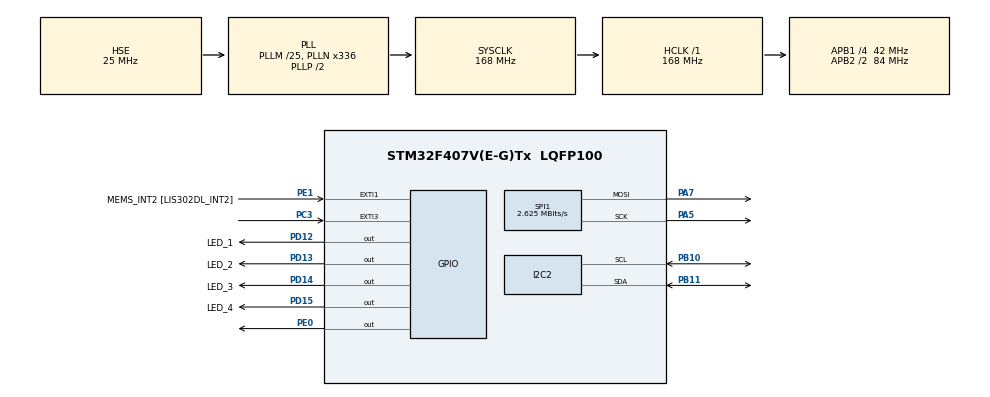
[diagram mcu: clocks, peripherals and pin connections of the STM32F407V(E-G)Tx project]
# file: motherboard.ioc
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FREERTOS.Tasks01=app_powerMonito,0,128,tsk_powerMonitor,As weak,NULL,Dynamic,NULL,NULL
FREERTOS.configLIBRARY_MAX_SYSCALL_INTERRUPT_PRIORITY=5
Mcu.Family=STM32F4
Mcu.Name=STM32F407V(E-G)Tx
Mcu.Package=LQFP100
NVIC.EXTI3_IRQn=true\:5\:0\:false\:false\:true\:true\:true\:true
NVIC.I2C2_EV_IRQn=true\:5\:0\:false\:false\:true\:true\:true\:true
NVIC.PriorityGroup=NVIC_PRIORITYGROUP_4
NVIC.SPI1_IRQn=true\:5\:0\:false\:false\:true\:true\:true\:true
PA13.GPIO_Label=SWDIO
PA13.Mode=Trace_Asynchronous_SW
PA13.Signal=SYS_JTMS-SWDIO
PA14.GPIO_Label=SWCLK
PA14.Mode=Trace_Asynchronous_SW
PA14.Signal=SYS_JTCK-SWCLK
PA5.Mode=TX_Only_Simplex_Unidirect_Master
PA5.Signal=SPI1_SCK
PA7.Mode=TX_Only_Simplex_Unidirect_Master
PA7.Signal=SPI1_MOSI
PB10.Mode=I2C
PB10.Signal=I2C2_SCL
PB11.Mode=I2C
PB11.Signal=I2C2_SDA
PB3.GPIO_Label=SWO
PB3.Mode=Trace_Asynchronous_SW
PB3.Signal=SYS_JTDO-SWO
PB8.Signal=CAN1_RX
PB9.Signal=CAN1_TX
PC14-OSC32_IN.GPIO_Label=PC14-OSC32_IN
PC14-OSC32_IN.Mode=LSE-External-Oscillator
PC14-OSC32_IN.Signal=RCC_OSC32_IN
PC15-OSC32_OUT.GPIO_Label=PC15-OSC32_OUT
PC15-OSC32_OUT.Mode=LSE-External-Oscillator
PC15-OSC32_OUT.Signal=RCC_OSC32_OUT
PC3.GPIO_ModeDefaultEXTI=GPIO_MODE_IT_FALLING
PC3.GPIO_PuPd=GPIO_PULLUP
PC3.Signal=GPXTI3
PD12.GPIO_Label=LED_1
PD12.Signal=GPIO_Output
PD13.GPIO_Label=LED_2
PD13.Signal=GPIO_Output
PD14.GPIO_Label=LED_3
PD14.Signal=GPIO_Output
PD15.GPIO_Label=LED_4
PD15.GPIO_PuPd=GPIO_NOPULL
PD15.GPIO_Speed=GPIO_SPEED_FREQ_LOW
PD15.Signal=GPIO_Output
PE0.Signal=GPIO_Output
PE1.GPIO_Label=MEMS_INT2 [LIS302DL_INT2]
PE1.GPIO_ModeDefaultEXTI=GPIO_MODE_EVT_RISING
PE1.GPIO_PuPd=GPIO_NOPULL
PE1.Signal=GPXTI1
PH0-OSC_IN.GPIO_Label=PH0-OSC_IN
PH0-OSC_IN.Mode=HSE-External-Clock-Source
PH0-OSC_IN.Signal=RCC_OSC_IN
PH1-OSC_OUT.Mode=HSE-External-Clock-Source
PH1-OSC_OUT.Signal=RCC_OSC_OUT
ProjectManager.HeapSize=0x200
ProjectManager.StackSize=0x400
ProjectManager.TargetToolchain=Makefile
RCC.48MHZClocksFreq_Value=48000000
RCC.AHBFreq_Value=168000000
RCC.APB1CLKDivider=RCC_HCLK_DIV4
RCC.APB1Freq_Value=42000000
RCC.APB1TimFreq_Value=84000000
RCC.APB2CLKDivider=RCC_HCLK_DIV2
RCC.APB2Freq_Value=84000000
RCC.APB2TimFreq_Value=168000000
RCC.CortexFreq_Value=168000000
RCC.HCLKFreq_Value=168000000
RCC.HSE_VALUE=25000000
RCC.HSI_VALUE=16000000
RCC.PLLM=25
RCC.PLLN=336
RCC.PLLQ=7
RCC.PLLSourceVirtual=RCC_PLLSOURCE_HSE
RCC.SYSCLKFreq_VALUE=168000000
RCC.SYSCLKSource=RCC_SYSCLKSOURCE_PLLCLK
RCC.VCOOutputFreq_Value=336000000
SPI1.BaudRatePrescaler=SPI_BAUDRATEPRESCALER_32
SPI1.CLKPolarity=SPI_POLARITY_LOW
SPI1.CalculateBaudRate=2.625 MBits/s
SPI1.Direction=SPI_DIRECTION_2LINES
SPI1.Mode=SPI_MODE_MASTER
SPI1.VirtualType=VM_MASTER
VP_FREERTOS_VS_CMSIS_V1.Mode=CMSIS_V1
board=STM32F4DISCOVERY

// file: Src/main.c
/* USER CODE BEGIN Header */
/**
  ******************************************************************************
  * @file           : main.c
  * @brief          : Main program body
  ******************************************************************************
  * @attention
  *
  * <h2><center>&copy; Copyright (c) 2019 STMicroelectronics.
  * All rights reserved.</center></h2>
  *
  * This software component is licensed by ST under Ultimate Liberty license
  * SLA0044, the "License"; You may not use this file except in compliance with
  * the License. You may obtain a copy of the License at:
  *                             www.st.com/SLA0044
  *
  ******************************************************************************
  */
/* USER CODE END Header */

#include "main.h"
#include "cmsis_os.h"
#include "i2c.h"
#include "spi.h"
#include "gpio.h"

/* USER CODE BEGIN Includes */
#include "APP_ledDriver.h"
#include "bsp_can.h"
/* USER CODE END Includes */

/* USER CODE BEGIN PV */
extern canInstance_t can1Instance;
/* USER CODE END PV */

void SystemClock_Config(void);
void MX_FREERTOS_Init(void);

int main(void)
{

  /* MCU Configuration--------------------------------------------------------*/

  /* Reset of all peripherals, Initializes the Flash interface and the Systick. */
  HAL_Init();

  /* Configure the system clock */
  SystemClock_Config();

  /* Initialize all configured peripherals */
  MX_GPIO_Init();
  MX_SPI1_Init();
  MX_I2C2_Init();
  /* USER CODE BEGIN 2 */
  can_canInit();
  /* USER CODE END 2 */

  /* Call init function for freertos objects (in freertos.c) */
  MX_FREERTOS_Init();

  /* Start scheduler */
  osKernelStart();

  /* We should never get here as control is now taken by the scheduler */

  /* Infinite loop */
  while (1)
  {

  }
}

void SystemClock_Config(void)
{
  RCC_OscInitTypeDef RCC_OscInitStruct = {0};
  RCC_ClkInitTypeDef RCC_ClkInitStruct = {0};

  /** Configure the main internal regulator output voltage
  */
  __HAL_RCC_PWR_CLK_ENABLE();
  __HAL_PWR_VOLTAGESCALING_CONFIG(PWR_REGULATOR_VOLTAGE_SCALE1);
  /** Initializes the CPU, AHB and APB busses clocks
  */
  RCC_OscInitStruct.OscillatorType = RCC_OSCILLATORTYPE_HSE;
  RCC_OscInitStruct.HSEState = RCC_HSE_BYPASS;
  RCC_OscInitStruct.PLL.PLLState = RCC_PLL_ON;
  RCC_OscInitStruct.PLL.PLLSource = RCC_PLLSOURCE_HSE;
  RCC_OscInitStruct.PLL.PLLM = 25;
  RCC_OscInitStruct.PLL.PLLN = 336;
  RCC_OscInitStruct.PLL.PLLP = RCC_PLLP_DIV2;
  RCC_OscInitStruct.PLL.PLLQ = 7;
  if (HAL_RCC_OscConfig(&RCC_OscInitStruct) != HAL_OK)
  {
    Error_Handler();
  }
  /** Initializes the CPU, AHB and APB busses clocks
  */
  RCC_ClkInitStruct.ClockType = RCC_CLOCKTYPE_HCLK|RCC_CLOCKTYPE_SYSCLK
                              |RCC_CLOCKTYPE_PCLK1|RCC_CLOCKTYPE_PCLK2;
  RCC_ClkInitStruct.SYSCLKSource = RCC_SYSCLKSOURCE_PLLCLK;
  RCC_ClkInitStruct.AHBCLKDivider = RCC_SYSCLK_DIV1;
  RCC_ClkInitStruct.APB1CLKDivider = RCC_HCLK_DIV4;
  RCC_ClkInitStruct.APB2CLKDivider = RCC_HCLK_DIV2;

  if (HAL_RCC_ClockConfig(&RCC_ClkInitStruct, FLASH_LATENCY_5) != HAL_OK)
  {
    Error_Handler();
  }
}

/* USER CODE BEGIN 4 */
void HAL_GPIO_EXTI_Callback(uint16_t GPIO_Pin){
	if(GPIO_Pin == GPIO_PIN_3){
		ledDriverButtonPressed();
	}
}

uint32_t can_canInit()
{
    //initialise IO's
    GPIO_InitTypeDef GPIO_InitStruct = {0};

    __HAL_RCC_GPIOB_CLK_ENABLE();

    //Configure GPIO pins : PB8 PB9
    GPIO_InitStruct.Pin = GPIO_PIN_8 | GPIO_PIN_9;
    GPIO_InitStruct.Mode = GPIO_MODE_AF_PP;
    GPIO_InitStruct.Pull = GPIO_NOPULL;
    GPIO_InitStruct.Speed = GPIO_SPEED_FREQ_VERY_HIGH;
    GPIO_InitStruct.Alternate = GPIO_AF9_CAN1;
    HAL_GPIO_Init(GPIOB, &GPIO_InitStruct);

    can1Instance.instance = CAN1;
    can1Instance.debugFreeze = 0;
    can1Instance.opMode = normal;
    can1Instance.baudPrescaler = 3;
    can1Instance.timeQuanta1 = 14;
    can1Instance.timeQuanta2 = 11;
    can1Instance.timeReSync = 2;

    canInit(&can1Instance);
    //init interruption for fan 1 fifo 0
    can1Fifo0InitIt(&can1Instance);
    can1Fifo0RegisterCallback(can_regUpdateCallback);

    //init filters for boards

    canFilter_t filter = {0};

    filter.mask11.mask0 = BOARD_ID_MASK;
    filter.mask11.ID0 = BOARD_EMERGENCY_ID_SHIFTED;
    filter.mask11.mask1 = BOARD_ID_MASK;
    filter.mask11.ID1 = BOARD_MISSION_ID_SHIFTED;
    canSetFilter(&can1Instance, &filter,mask11Bit, 0, 0);

    filter.mask11.mask0 = BOARD_ID_MASK;
    filter.mask11.ID0 = BOARD_COMMUNICATION_ID_SHIFTED;
    filter.mask11.mask1 = BOARD_ID_MASK;
    filter.mask11.ID1 = BOARD_ACQUISITION_ID_SHIFTED;
    canSetFilter(&can1Instance, &filter,mask11Bit, 1, 0);

    filter.mask11.mask0 = BOARD_ID_MASK;
    filter.mask11.ID0 = BOARD_MOTHERBOARD_ID_SHIFTED;
    filter.mask11.mask1 = BOARD_ID_MASK;
    filter.mask11.ID1 = BOARD_MOTHERBOARD_ID_SHIFTED;

    canSetFilter(&can1Instance, &filter,mask11Bit, 2, 0);
    NVIC_SetPriority(20, 10);
    return 0;
}

/* USER CODE END 4 */

void Error_Handler(void)
{
}

/************************ (C) COPYRIGHT STMicroelectronics *****END OF FILE****/

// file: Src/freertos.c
/* USER CODE BEGIN Header */
/**
  ******************************************************************************
  * File Name          : freertos.c
  * Description        : Code for freertos applications
  ******************************************************************************
  * @attention
  *
  * <h2><center>&copy; Copyright (c) 2019 STMicroelectronics.
  * All rights reserved.</center></h2>
  *
  * This software component is licensed by ST under Ultimate Liberty license
  * SLA0044, the "License"; You may not use this file except in compliance with
  * the License. You may obtain a copy of the License at:
  *                             www.st.com/SLA0044
  *
  ******************************************************************************
  */
/* USER CODE END Header */

#include "FreeRTOS.h"
#include "task.h"
#include "main.h"
#include "cmsis_os.h"

/* USER CODE BEGIN Includes */
#include "APP_heartBeat.h"
#include "APP_CANTest.h"
#include "APP_ledDriver.h"
/* USER CODE END Includes */

/* USER CODE BEGIN Variables */
osThreadId tsk_heartBeatID;
osThreadId tsk_CANTestID;

/* USER CODE END Variables */
osThreadId app_powerMonitoHandle;

void tsk_powerMonitor(void const * argument);

void MX_FREERTOS_Init(void); /* (MISRA C 2004 rule 8.1) */

/* GetIdleTaskMemory prototype (linked to static allocation support) */
void vApplicationGetIdleTaskMemory( StaticTask_t **ppxIdleTaskTCBBuffer, StackType_t **ppxIdleTaskStackBuffer, uint32_t *pulIdleTaskStackSize );

/* USER CODE BEGIN GET_IDLE_TASK_MEMORY */
static StaticTask_t xIdleTaskTCBBuffer;
static StackType_t xIdleStack[configMINIMAL_STACK_SIZE];

void vApplicationGetIdleTaskMemory( StaticTask_t **ppxIdleTaskTCBBuffer, StackType_t **ppxIdleTaskStackBuffer, uint32_t *pulIdleTaskStackSize )
{
  *ppxIdleTaskTCBBuffer = &xIdleTaskTCBBuffer;
  *ppxIdleTaskStackBuffer = &xIdleStack[0];
  *pulIdleTaskStackSize = configMINIMAL_STACK_SIZE;
  /* place for user code */
}
/* USER CODE END GET_IDLE_TASK_MEMORY */

void MX_FREERTOS_Init(void) {

  /* Create the thread(s) */
  /* definition and creation of app_powerMonito */
  osThreadDef(app_powerMonito, tsk_powerMonitor, osPriorityNormal, 0, 128);
  app_powerMonitoHandle = osThreadCreate(osThread(app_powerMonito), NULL);

  /* USER CODE BEGIN RTOS_THREADS */
  osThreadDef(heartBeat,tsk_heartBeat,osPriorityLow,1,100);
  tsk_heartBeatID = osThreadCreate(osThread(heartBeat),0);

  osThreadDef(CANTest,tsk_CANTest,osPriorityNormal,1,100);
  tsk_CANTestID = osThreadCreate(osThread(CANTest),0);

  osThreadDef(ledDriver,tsk_ledDriver,osPriorityNormal,1,100);
  tsk_ledDriverID = osThreadCreate(osThread(ledDriver),0);

  /* USER CODE END RTOS_THREADS */

}

__weak void tsk_powerMonitor(void const * argument)
{

  for(;;)
  {
    osDelay(1);
  }
}

/************************ (C) COPYRIGHT STMicroelectronics *****END OF FILE****/
